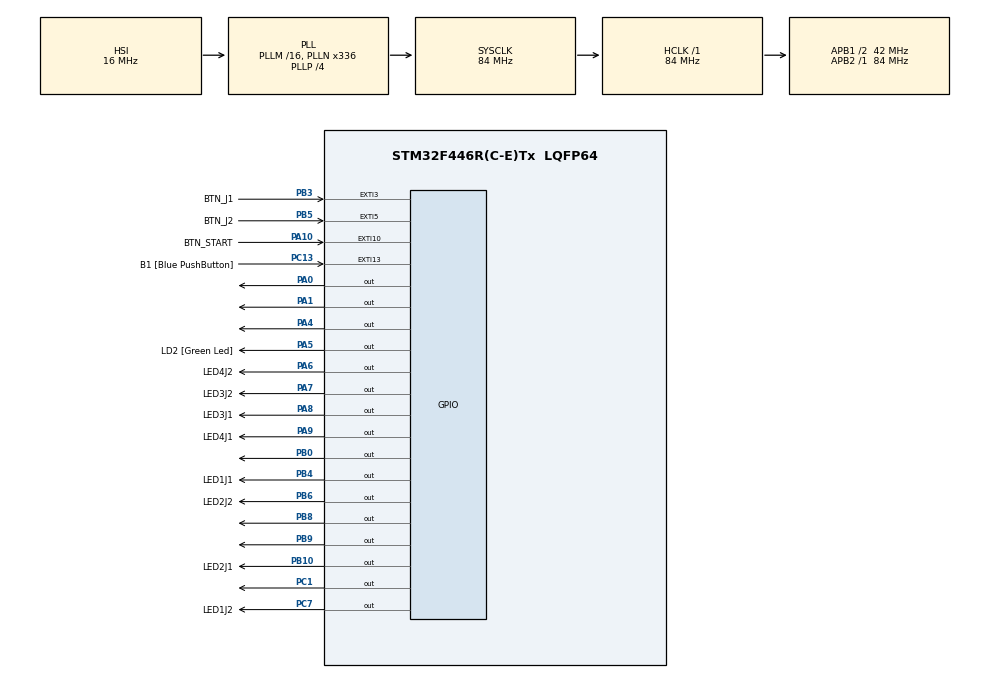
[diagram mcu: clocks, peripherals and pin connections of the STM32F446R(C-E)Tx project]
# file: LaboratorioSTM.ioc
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Mcu.Family=STM32F4
Mcu.Name=STM32F446R(C-E)Tx
Mcu.Package=LQFP64
NVIC.EXTI15_10_IRQn=true\:0\:0\:false\:false\:true\:true\:true\:true
NVIC.EXTI3_IRQn=true\:0\:0\:false\:false\:true\:true\:true\:true
NVIC.EXTI9_5_IRQn=true\:0\:0\:false\:false\:true\:true\:true\:true
NVIC.PriorityGroup=NVIC_PRIORITYGROUP_0
PA0-WKUP.Signal=GPIO_Output
PA1.Signal=GPIO_Output
PA10.GPIO_Label=BTN_START
PA10.GPIO_ModeDefaultEXTI=GPIO_MODE_IT_FALLING
PA10.GPIO_PuPd=GPIO_PULLUP
PA10.Signal=GPXTI10
PA13.GPIO_Label=TMS
PA13.Signal=SYS_JTMS-SWDIO
PA14.GPIO_Label=TCK
PA14.Signal=SYS_JTCK-SWCLK
PA2.GPIO_Label=USART_TX
PA2.Signal=USART2_TX
PA3.GPIO_Label=USART_RX
PA3.Signal=USART2_RX
PA4.Signal=GPIO_Output
PA5.GPIO_Label=LD2 [Green Led]
PA5.Signal=GPIO_Output
PA6.GPIO_Label=LED4J2
PA6.Signal=GPIO_Output
PA7.GPIO_Label=LED3J2
PA7.Signal=GPIO_Output
PA8.GPIO_Label=LED3J1
PA8.Signal=GPIO_Output
PA9.GPIO_Label=LED4J1
PA9.Signal=GPIO_Output
PB0.Signal=GPIO_Output
PB10.GPIO_Label=LED2J1
PB10.Signal=GPIO_Output
PB3.GPIO_Label=BTN_J1
PB3.GPIO_ModeDefaultEXTI=GPIO_MODE_IT_FALLING
PB3.GPIO_PuPd=GPIO_PULLUP
PB3.Signal=GPXTI3
PB4.GPIO_Label=LED1J1
PB4.Signal=GPIO_Output
PB5.GPIO_Label=BTN_J2
PB5.GPIO_ModeDefaultEXTI=GPIO_MODE_IT_FALLING
PB5.GPIO_PuPd=GPIO_PULLUP
PB5.Signal=GPXTI5
PB6.GPIO_Label=LED2J2
PB6.Signal=GPIO_Output
PB8.Signal=GPIO_Output
PB9.Signal=GPIO_Output
PC1.Signal=GPIO_Output
PC13.GPIO_Label=B1 [Blue PushButton]
PC13.GPIO_ModeDefaultEXTI=GPIO_MODE_IT_FALLING
PC13.Signal=GPXTI13
PC14-OSC32_IN.Signal=RCC_OSC32_IN
PC15-OSC32_OUT.Signal=RCC_OSC32_OUT
PC7.GPIO_Label=LED1J2
PC7.Signal=GPIO_Output
PH0-OSC_IN.Signal=RCC_OSC_IN
PH1-OSC_OUT.Signal=RCC_OSC_OUT
ProjectManager.HeapSize=0x200
ProjectManager.StackSize=0x400
ProjectManager.TargetToolchain=STM32CubeIDE
RCC.AHBFreq_Value=84000000
RCC.APB1CLKDivider=RCC_HCLK_DIV2
RCC.APB1Freq_Value=42000000
RCC.APB1TimFreq_Value=84000000
RCC.APB2Freq_Value=84000000
RCC.APB2TimFreq_Value=84000000
RCC.CortexFreq_Value=84000000
RCC.FLatency-AdvancedSettings=FLASH_LATENCY_2
RCC.HCLKFreq_Value=84000000
RCC.HSE_VALUE=8000000
RCC.HSI_VALUE=16000000
RCC.LSE_VALUE=32768
RCC.PLLN=336
RCC.PLLP=RCC_PLLP_DIV4
RCC.SYSCLKFreq_VALUE=84000000
RCC.SYSCLKSource=RCC_SYSCLKSOURCE_PLLCLK
RCC.USBFreq_Value=168000000
RCC.VCOOutputFreq_Value=336000000
board=NUCLEO-F446RE

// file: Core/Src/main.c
/* USER CODE BEGIN Header */
/**
  ******************************************************************************
  * @file           : main.c
  * @brief          : Laboratorio 4 - Carrera 2.0
  ******************************************************************************
  */
/* USER CODE END Header */
#include "main.h"

/* USER CODE BEGIN PD */

#define PULSOS_POR_DECENA 10
#define META_DECENAS 4
#define META_PULSOS (PULSOS_POR_DECENA * META_DECENAS)

#define CUENTA_INICIO 5
#define DEBOUNCE_MS 50

/* USER CODE END PD */

/* USER CODE BEGIN PV */

volatile uint8_t contadorJ1 = 0;
volatile uint8_t contadorJ2 = 0;

volatile uint8_t carreraHabilitada = 0;
volatile uint8_t carreraFinalizada = 0;
volatile uint8_t solicitudInicio = 0;
volatile uint8_t inicioEnProceso = 0;

volatile uint8_t botonListoJ1 = 1;
volatile uint8_t botonListoJ2 = 1;
volatile uint8_t botonListoStart = 1;

/* Debounce independiente */
volatile uint32_t ultimoTiempoJ1 = 0;
volatile uint32_t ultimoTiempoJ2 = 0;
volatile uint32_t ultimoTiempoStart = 0;

/* USER CODE END PV */

void SystemClock_Config(void);
static void MX_GPIO_Init(void);
/* USER CODE BEGIN PFP */

void ApagarLedsJ1(void);
void ApagarLedsJ2(void);
void MostrarDecenasJ1(uint8_t decenas);
void MostrarDecenasJ2(uint8_t decenas);

void MostrarDisplay(uint8_t numero);
void ApagarDisplay(void);

void ReiniciarCarrera(void);
void EjecutarInicioCarrera(void);
void ActualizarLiberacionBotones(void);

void ProcesarPulsacionJ1(void);
void ProcesarPulsacionJ2(void);

void GanadorJ1(void);
void GanadorJ2(void);

/* USER CODE END PFP */

/* USER CODE BEGIN 0 */

/*
 * LEDS JUGADOR 1
 */

void ApagarLedsJ1(void)
{
    HAL_GPIO_WritePin(LED1J1_GPIO_Port, LED1J1_Pin, GPIO_PIN_RESET);
    HAL_GPIO_WritePin(LED2J1_GPIO_Port, LED2J1_Pin, GPIO_PIN_RESET);
    HAL_GPIO_WritePin(LED3J1_GPIO_Port, LED3J1_Pin, GPIO_PIN_RESET);
    HAL_GPIO_WritePin(LED4J1_GPIO_Port, LED4J1_Pin, GPIO_PIN_RESET);
}

void MostrarDecenasJ1(uint8_t decenas)
{
    if (decenas > META_DECENAS)
    {
        decenas = META_DECENAS;
    }

    HAL_GPIO_WritePin(
        LED1J1_GPIO_Port,
        LED1J1_Pin,
        (decenas >= 1) ? GPIO_PIN_SET : GPIO_PIN_RESET
    );

    HAL_GPIO_WritePin(
        LED2J1_GPIO_Port,
        LED2J1_Pin,
        (decenas >= 2) ? GPIO_PIN_SET : GPIO_PIN_RESET
    );

    HAL_GPIO_WritePin(
        LED3J1_GPIO_Port,
        LED3J1_Pin,
        (decenas >= 3) ? GPIO_PIN_SET : GPIO_PIN_RESET
    );

    HAL_GPIO_WritePin(
        LED4J1_GPIO_Port,
        LED4J1_Pin,
        (decenas >= 4) ? GPIO_PIN_SET : GPIO_PIN_RESET
    );
}

/*
 * LEDS JUGADOR 2
 */

void ApagarLedsJ2(void)
{
    HAL_GPIO_WritePin(LED1J2_GPIO_Port, LED1J2_Pin, GPIO_PIN_RESET);
    HAL_GPIO_WritePin(LED2J2_GPIO_Port, LED2J2_Pin, GPIO_PIN_RESET);
    HAL_GPIO_WritePin(LED3J2_GPIO_Port, LED3J2_Pin, GPIO_PIN_RESET);
    HAL_GPIO_WritePin(LED4J2_GPIO_Port, LED4J2_Pin, GPIO_PIN_RESET);
}

void MostrarDecenasJ2(uint8_t decenas)
{
    if (decenas > META_DECENAS)
    {
        decenas = META_DECENAS;
    }

    HAL_GPIO_WritePin(
        LED1J2_GPIO_Port,
        LED1J2_Pin,
        (decenas >= 1) ? GPIO_PIN_SET : GPIO_PIN_RESET
    );

    HAL_GPIO_WritePin(
        LED2J2_GPIO_Port,
        LED2J2_Pin,
        (decenas >= 2) ? GPIO_PIN_SET : GPIO_PIN_RESET
    );

    HAL_GPIO_WritePin(
        LED3J2_GPIO_Port,
        LED3J2_Pin,
        (decenas >= 3) ? GPIO_PIN_SET : GPIO_PIN_RESET
    );

    HAL_GPIO_WritePin(
        LED4J2_GPIO_Port,
        LED4J2_Pin,
        (decenas >= 4) ? GPIO_PIN_SET : GPIO_PIN_RESET
    );
}

/*
 * DISPLAY 7 SEGMENTOS - CATODO COMUN
 */

void MostrarDisplay(uint8_t numero)
{
    uint8_t patron = 0;

    /*
     * bit 0 = A
     * bit 1 = B
     * bit 2 = C
     * bit 3 = D
     * bit 4 = E
     * bit 5 = F
     * bit 6 = G
     */

    switch(numero)
    {
        case 0:
            patron = 0x3F;
            break;

        case 1:
            patron = 0x06;
            break;

        case 2:
            patron = 0x5B;
            break;

        case 3:
            patron = 0x4F;
            break;

        case 4:
            patron = 0x66;
            break;

        case 5:
            patron = 0x6D;
            break;

        case 6:
            patron = 0x7D;
            break;

        case 7:
            patron = 0x07;
            break;

        case 8:
            patron = 0x7F;
            break;

        case 9:
            patron = 0x6F;
            break;

        default:
            patron = 0x00;
            break;
    }

    /* Segmento A - PB9 */
    HAL_GPIO_WritePin(
        GPIOB,
        GPIO_PIN_9,
        (patron & 0x01) ? GPIO_PIN_SET : GPIO_PIN_RESET
    );

    /* Segmento B - PB8 */
    HAL_GPIO_WritePin(
        GPIOB,
        GPIO_PIN_8,
        (patron & 0x02) ? GPIO_PIN_SET : GPIO_PIN_RESET
    );

    /* Segmento C - PA0 */
    HAL_GPIO_WritePin(
        GPIOA,
        GPIO_PIN_0,
        (patron & 0x04) ? GPIO_PIN_SET : GPIO_PIN_RESET
    );

    /* Segmento D - PA1 */
    HAL_GPIO_WritePin(
        GPIOA,
        GPIO_PIN_1,
        (patron & 0x08) ? GPIO_PIN_SET : GPIO_PIN_RESET
    );

    /* Segmento E - PA4 */
    HAL_GPIO_WritePin(
        GPIOA,
        GPIO_PIN_4,
        (patron & 0x10) ? GPIO_PIN_SET : GPIO_PIN_RESET
    );

    /* Segmento F - PB0 */
    HAL_GPIO_WritePin(
        GPIOB,
        GPIO_PIN_0,
        (patron & 0x20) ? GPIO_PIN_SET : GPIO_PIN_RESET
    );

    /* Segmento G - PC1 */
    HAL_GPIO_WritePin(
        GPIOC,
        GPIO_PIN_1,
        (patron & 0x40) ? GPIO_PIN_SET : GPIO_PIN_RESET
    );
}

/* ============================================================
 * APAGAR DISPLAY
 * ============================================================ */

void ApagarDisplay(void)
{
    HAL_GPIO_WritePin(GPIOB, GPIO_PIN_9, GPIO_PIN_RESET);
    HAL_GPIO_WritePin(GPIOB, GPIO_PIN_8, GPIO_PIN_RESET);

    HAL_GPIO_WritePin(GPIOA, GPIO_PIN_0, GPIO_PIN_RESET);
    HAL_GPIO_WritePin(GPIOA, GPIO_PIN_1, GPIO_PIN_RESET);
    HAL_GPIO_WritePin(GPIOA, GPIO_PIN_4, GPIO_PIN_RESET);

    HAL_GPIO_WritePin(GPIOB, GPIO_PIN_0, GPIO_PIN_RESET);

    HAL_GPIO_WritePin(GPIOC, GPIO_PIN_1, GPIO_PIN_RESET);
}

/* ============================================================
 * ESTADO DE LA CARRERA
 * ============================================================ */

void ReiniciarCarrera(void)
{
    contadorJ1 = 0;
    contadorJ2 = 0;

    carreraFinalizada = 0;
    carreraHabilitada = 0;

    ApagarLedsJ1();
    ApagarLedsJ2();
    ApagarDisplay();
}

void EjecutarInicioCarrera(void)
{
    uint8_t numero = 0;

    solicitudInicio = 0;
    inicioEnProceso = 1;
    ReiniciarCarrera();

    for (numero = CUENTA_INICIO; numero > 0; numero--)
    {
        MostrarDisplay(numero);
        HAL_Delay(1000);
    }

    MostrarDisplay(0);
    HAL_Delay(1000);
    ApagarDisplay();

    /*
     * Si alguien deja presionado un boton durante la cuenta regresiva,
     * no debe ganar un conteo automatico al iniciar.
     */
    botonListoJ1 =
        (HAL_GPIO_ReadPin(BTN_J1_GPIO_Port, BTN_J1_Pin) == GPIO_PIN_SET);

    botonListoJ2 =
        (HAL_GPIO_ReadPin(BTN_J2_GPIO_Port, BTN_J2_Pin) == GPIO_PIN_SET);

    botonListoStart =
        (HAL_GPIO_ReadPin(BTN_START_GPIO_Port, BTN_START_Pin) == GPIO_PIN_SET);

    solicitudInicio = 0;
    carreraHabilitada = 1;
    inicioEnProceso = 0;
}

void ActualizarLiberacionBotones(void)
{
    if (HAL_GPIO_ReadPin(BTN_J1_GPIO_Port, BTN_J1_Pin) == GPIO_PIN_SET)
    {
        botonListoJ1 = 1;
    }

    if (HAL_GPIO_ReadPin(BTN_J2_GPIO_Port, BTN_J2_Pin) == GPIO_PIN_SET)
    {
        botonListoJ2 = 1;
    }

    if (HAL_GPIO_ReadPin(BTN_START_GPIO_Port, BTN_START_Pin) == GPIO_PIN_SET)
    {
        botonListoStart = 1;
    }
}

void ProcesarPulsacionJ1(void)
{
    contadorJ1++;

    MostrarDecenasJ1(contadorJ1 / PULSOS_POR_DECENA);

    if (contadorJ1 >= META_PULSOS)
    {
        contadorJ1 = META_PULSOS;
        GanadorJ1();
    }
}

void ProcesarPulsacionJ2(void)
{
    contadorJ2++;

    MostrarDecenasJ2(contadorJ2 / PULSOS_POR_DECENA);

    if (contadorJ2 >= META_PULSOS)
    {
        contadorJ2 = META_PULSOS;
        GanadorJ2();
    }
}

/* ============================================================
 * GANADOR JUGADOR 1
 * ============================================================ */

void GanadorJ1(void)
{
    carreraFinalizada = 1;
    carreraHabilitada = 0;

    /* Encender TODOS los LEDs del Jugador 1 */

    HAL_GPIO_WritePin(
        LED1J1_GPIO_Port,
        LED1J1_Pin,
        GPIO_PIN_SET
    );

    HAL_GPIO_WritePin(
        LED2J1_GPIO_Port,
        LED2J1_Pin,
        GPIO_PIN_SET
    );

    HAL_GPIO_WritePin(
        LED3J1_GPIO_Port,
        LED3J1_Pin,
        GPIO_PIN_SET
    );

    HAL_GPIO_WritePin(
        LED4J1_GPIO_Port,
        LED4J1_Pin,
        GPIO_PIN_SET
    );

    /* Apagar TODOS los LEDs del Jugador 2 */

    HAL_GPIO_WritePin(
        LED1J2_GPIO_Port,
        LED1J2_Pin,
        GPIO_PIN_RESET
    );

    HAL_GPIO_WritePin(
        LED2J2_GPIO_Port,
        LED2J2_Pin,
        GPIO_PIN_RESET
    );

    HAL_GPIO_WritePin(
        LED3J2_GPIO_Port,
        LED3J2_Pin,
        GPIO_PIN_RESET
    );

    HAL_GPIO_WritePin(
        LED4J2_GPIO_Port,
        LED4J2_Pin,
        GPIO_PIN_RESET
    );

    /* Mostrar 1 en el display */

    MostrarDisplay(1);
}

/* ============================================================
 * GANADOR JUGADOR 2
 * ============================================================ */

void GanadorJ2(void)
{
    carreraFinalizada = 1;
    carreraHabilitada = 0;

    /* Apagar TODOS los LEDs del Jugador 1 */

    HAL_GPIO_WritePin(
        LED1J1_GPIO_Port,
        LED1J1_Pin,
        GPIO_PIN_RESET
    );

    HAL_GPIO_WritePin(
        LED2J1_GPIO_Port,
        LED2J1_Pin,
        GPIO_PIN_RESET
    );

    HAL_GPIO_WritePin(
        LED3J1_GPIO_Port,
        LED3J1_Pin,
        GPIO_PIN_RESET
    );

    HAL_GPIO_WritePin(
        LED4J1_GPIO_Port,
        LED4J1_Pin,
        GPIO_PIN_RESET
    );

    /* Encender TODOS los LEDs del Jugador 2 */

    HAL_GPIO_WritePin(
        LED1J2_GPIO_Port,
        LED1J2_Pin,
        GPIO_PIN_SET
    );

    HAL_GPIO_WritePin(
        LED2J2_GPIO_Port,
        LED2J2_Pin,
        GPIO_PIN_SET
    );

    HAL_GPIO_WritePin(
        LED3J2_GPIO_Port,
        LED3J2_Pin,
        GPIO_PIN_SET
    );

    HAL_GPIO_WritePin(
        LED4J2_GPIO_Port,
        LED4J2_Pin,
        GPIO_PIN_SET
    );

    /* Mostrar 2 en el display */

    MostrarDisplay(2);
}

/* USER CODE END 0 */

int main(void)
{

  /* MCU Configuration--------------------------------------------------------*/

  /* Reset of all peripherals, Initializes the Flash interface and the Systick. */
  HAL_Init();

  /* Configure the system clock */
  SystemClock_Config();

  /* Initialize all configured peripherals */
  MX_GPIO_Init();
  /* USER CODE BEGIN 2 */

  /* Inicializar carrera en espera del boton START */

  ReiniciarCarrera();

  /* USER CODE END 2 */

  /* Infinite loop */
  while (1)
  {

    /* USER CODE BEGIN 3 */

    ActualizarLiberacionBotones();

    if (solicitudInicio && !carreraHabilitada)
    {
        EjecutarInicioCarrera();
    }

  }

  /* USER CODE END 3 */
}

void SystemClock_Config(void)
{
  RCC_OscInitTypeDef RCC_OscInitStruct = {0};
  RCC_ClkInitTypeDef RCC_ClkInitStruct = {0};

  /** Configure the main internal regulator output voltage
  */
  __HAL_RCC_PWR_CLK_ENABLE();
  __HAL_PWR_VOLTAGESCALING_CONFIG(PWR_REGULATOR_VOLTAGE_SCALE3);

  /** Initializes the RCC Oscillators according to the specified parameters
  * in the RCC_OscInitTypeDef structure.
  */
  RCC_OscInitStruct.OscillatorType = RCC_OSCILLATORTYPE_HSI;
  RCC_OscInitStruct.HSIState = RCC_HSI_ON;
  RCC_OscInitStruct.HSICalibrationValue = RCC_HSICALIBRATION_DEFAULT;
  RCC_OscInitStruct.PLL.PLLState = RCC_PLL_ON;
  RCC_OscInitStruct.PLL.PLLSource = RCC_PLLSOURCE_HSI;
  RCC_OscInitStruct.PLL.PLLM = 16;
  RCC_OscInitStruct.PLL.PLLN = 336;
  RCC_OscInitStruct.PLL.PLLP = RCC_PLLP_DIV4;
  RCC_OscInitStruct.PLL.PLLQ = 2;
  RCC_OscInitStruct.PLL.PLLR = 2;
  if (HAL_RCC_OscConfig(&RCC_OscInitStruct) != HAL_OK)
  {
    Error_Handler();
  }

  /** Initializes the CPU, AHB and APB buses clocks
  */
  RCC_ClkInitStruct.ClockType = RCC_CLOCKTYPE_HCLK|RCC_CLOCKTYPE_SYSCLK
                              |RCC_CLOCKTYPE_PCLK1|RCC_CLOCKTYPE_PCLK2;
  RCC_ClkInitStruct.SYSCLKSource = RCC_SYSCLKSOURCE_PLLCLK;
  RCC_ClkInitStruct.AHBCLKDivider = RCC_SYSCLK_DIV1;
  RCC_ClkInitStruct.APB1CLKDivider = RCC_HCLK_DIV2;
  RCC_ClkInitStruct.APB2CLKDivider = RCC_HCLK_DIV1;

  if (HAL_RCC_ClockConfig(&RCC_ClkInitStruct, FLASH_LATENCY_2) != HAL_OK)
  {
    Error_Handler();
  }
}

static void MX_GPIO_Init(void)
{
  GPIO_InitTypeDef GPIO_InitStruct = {0};

  /* GPIO Ports Clock Enable */
  __HAL_RCC_GPIOC_CLK_ENABLE();
  __HAL_RCC_GPIOH_CLK_ENABLE();
  __HAL_RCC_GPIOA_CLK_ENABLE();
  __HAL_RCC_GPIOB_CLK_ENABLE();

  /*Configure GPIO pin Output Level */
  HAL_GPIO_WritePin(GPIOC, GPIO_PIN_1|LED1J2_Pin, GPIO_PIN_RESET);

  /*Configure GPIO pin Output Level */
  HAL_GPIO_WritePin(GPIOA, GPIO_PIN_0|GPIO_PIN_1|GPIO_PIN_4|LD2_Pin
                          |LED4J2_Pin|LED3J2_Pin|LED3J1_Pin|LED4J1_Pin, GPIO_PIN_RESET);

  /*Configure GPIO pin Output Level */
  HAL_GPIO_WritePin(GPIOB, GPIO_PIN_0|LED2J1_Pin|LED1J1_Pin|LED2J2_Pin
                          |GPIO_PIN_8|GPIO_PIN_9, GPIO_PIN_RESET);

  /*Configure GPIO pin : B1_Pin */
  GPIO_InitStruct.Pin = B1_Pin;
  GPIO_InitStruct.Mode = GPIO_MODE_IT_FALLING;
  GPIO_InitStruct.Pull = GPIO_NOPULL;
  HAL_GPIO_Init(B1_GPIO_Port, &GPIO_InitStruct);

  /*Configure GPIO pins : PC1 LED1J2_Pin */
  GPIO_InitStruct.Pin = GPIO_PIN_1|LED1J2_Pin;
  GPIO_InitStruct.Mode = GPIO_MODE_OUTPUT_PP;
  GPIO_InitStruct.Pull = GPIO_NOPULL;
  GPIO_InitStruct.Speed = GPIO_SPEED_FREQ_LOW;
  HAL_GPIO_Init(GPIOC, &GPIO_InitStruct);

  /*Configure GPIO pins : PA0 PA1 PA4 LD2_Pin
                           LED4J2_Pin LED3J2_Pin LED3J1_Pin LED4J1_Pin */
  GPIO_InitStruct.Pin = GPIO_PIN_0|GPIO_PIN_1|GPIO_PIN_4|LD2_Pin
                          |LED4J2_Pin|LED3J2_Pin|LED3J1_Pin|LED4J1_Pin;
  GPIO_InitStruct.Mode = GPIO_MODE_OUTPUT_PP;
  GPIO_InitStruct.Pull = GPIO_NOPULL;
  GPIO_InitStruct.Speed = GPIO_SPEED_FREQ_LOW;
  HAL_GPIO_Init(GPIOA, &GPIO_InitStruct);

  /*Configure GPIO pins : USART_TX_Pin USART_RX_Pin */
  GPIO_InitStruct.Pin = USART_TX_Pin|USART_RX_Pin;
  GPIO_InitStruct.Mode = GPIO_MODE_AF_PP;
  GPIO_InitStruct.Pull = GPIO_NOPULL;
  GPIO_InitStruct.Speed = GPIO_SPEED_FREQ_VERY_HIGH;
  GPIO_InitStruct.Alternate = GPIO_AF7_USART2;
  HAL_GPIO_Init(GPIOA, &GPIO_InitStruct);

  /*Configure GPIO pins : PB0 LED2J1_Pin LED1J1_Pin LED2J2_Pin
                           PB8 PB9 */
  GPIO_InitStruct.Pin = GPIO_PIN_0|LED2J1_Pin|LED1J1_Pin|LED2J2_Pin
                          |GPIO_PIN_8|GPIO_PIN_9;
  GPIO_InitStruct.Mode = GPIO_MODE_OUTPUT_PP;
  GPIO_InitStruct.Pull = GPIO_NOPULL;
  GPIO_InitStruct.Speed = GPIO_SPEED_FREQ_LOW;
  HAL_GPIO_Init(GPIOB, &GPIO_InitStruct);

  /*Configure GPIO pin : BTN_START_Pin */
  GPIO_InitStruct.Pin = BTN_START_Pin;
  GPIO_InitStruct.Mode = GPIO_MODE_IT_FALLING;
  GPIO_InitStruct.Pull = GPIO_PULLUP;
  HAL_GPIO_Init(BTN_START_GPIO_Port, &GPIO_InitStruct);

  /*Configure GPIO pins : BTN_J1_Pin BTN_J2_Pin */
  GPIO_InitStruct.Pin = BTN_J1_Pin|BTN_J2_Pin;
  GPIO_InitStruct.Mode = GPIO_MODE_IT_FALLING;
  GPIO_InitStruct.Pull = GPIO_PULLUP;
  HAL_GPIO_Init(GPIOB, &GPIO_InitStruct);

  /* EXTI interrupt init*/
  HAL_NVIC_SetPriority(EXTI3_IRQn, 0, 0);
  HAL_NVIC_EnableIRQ(EXTI3_IRQn);

  HAL_NVIC_SetPriority(EXTI9_5_IRQn, 0, 0);
  HAL_NVIC_EnableIRQ(EXTI9_5_IRQn);

  HAL_NVIC_SetPriority(EXTI15_10_IRQn, 0, 0);
  HAL_NVIC_EnableIRQ(EXTI15_10_IRQn);

}

/* USER CODE BEGIN 4 */

/* Interrupciones de botones */
void HAL_GPIO_EXTI_Callback(uint16_t GPIO_Pin)
{
    uint32_t ahora = HAL_GetTick();

    /* Botón START */
    if (GPIO_Pin == BTN_START_Pin)
    {
        if ((ahora - ultimoTiempoStart) < DEBOUNCE_MS)
        {
            return;
        }

        ultimoTiempoStart = ahora;

        if (botonListoStart &&
            HAL_GPIO_ReadPin(BTN_START_GPIO_Port, BTN_START_Pin) == GPIO_PIN_RESET)
        {
            botonListoStart = 0;

            if (!carreraHabilitada && !inicioEnProceso)
            {
                solicitudInicio = 1;
            }
        }

        return;
    }

    /* Botón J1 */
    if (GPIO_Pin == BTN_J1_Pin)
    {
        if ((ahora - ultimoTiempoJ1) < DEBOUNCE_MS)
        {
            return;
        }

        ultimoTiempoJ1 = ahora;

        if (carreraHabilitada &&
            !carreraFinalizada &&
            botonListoJ1 &&
            HAL_GPIO_ReadPin(BTN_J1_GPIO_Port, BTN_J1_Pin) == GPIO_PIN_RESET)
        {
            botonListoJ1 = 0;
            ProcesarPulsacionJ1();
        }

        return;
    }

    /* Botón J2 */
    if (GPIO_Pin == BTN_J2_Pin)
    {
        if ((ahora - ultimoTiempoJ2) < DEBOUNCE_MS)
        {
            return;
        }

        ultimoTiempoJ2 = ahora;

        if (carreraHabilitada &&
            !carreraFinalizada &&
            botonListoJ2 &&
            HAL_GPIO_ReadPin(BTN_J2_GPIO_Port, BTN_J2_Pin) == GPIO_PIN_RESET)
        {
            botonListoJ2 = 0;
            ProcesarPulsacionJ2();
        }

        return;
    }
}

/* USER CODE END 4 */

void Error_Handler(void)
{
  __disable_irq();
  while (1)
  {
  }
}
